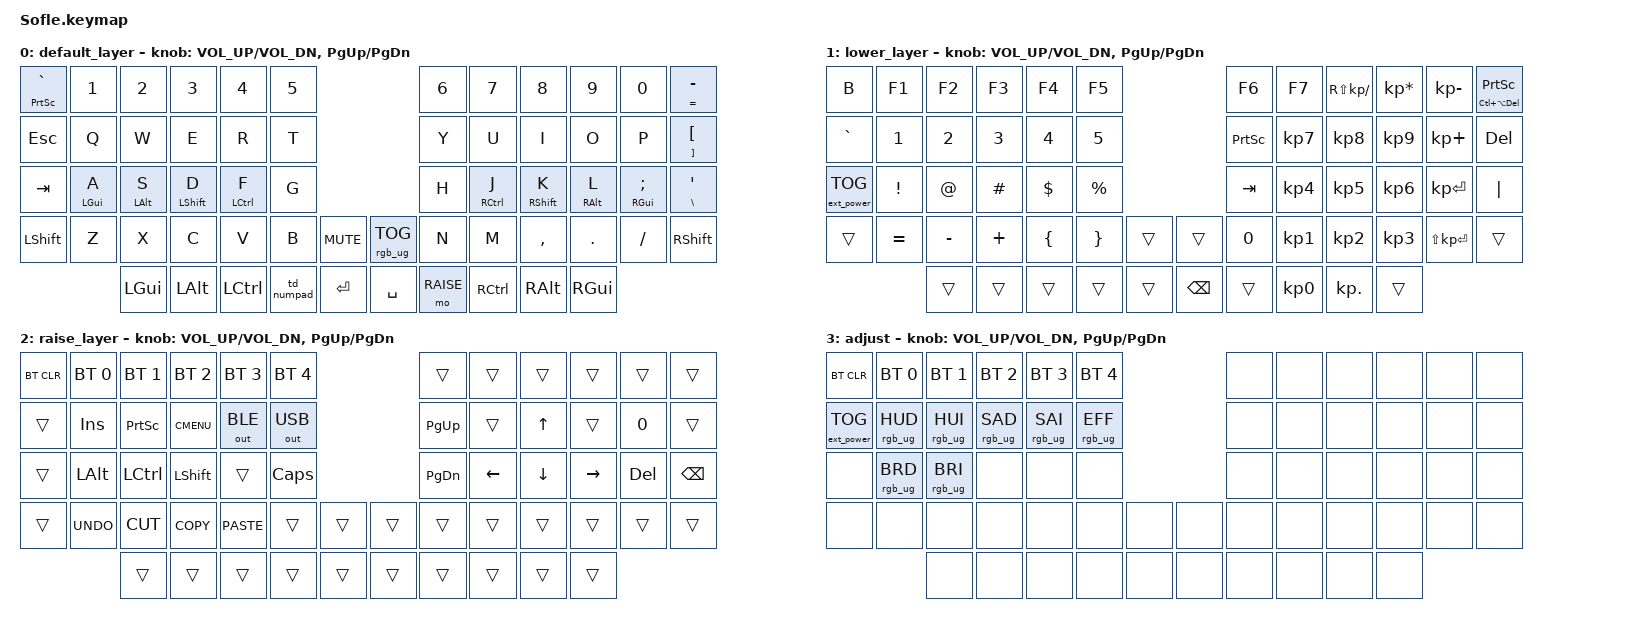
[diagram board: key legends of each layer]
/*
 * Copyright (c) 2020 The ZMK Contributors
 *
 * SPDX-License-Identifier: MIT
 *
 */

#include <behaviors.dtsi>
#include <dt-bindings/zmk/bt.h>
#include <dt-bindings/zmk/ext_power.h>
#include <dt-bindings/zmk/keys.h>
#include <dt-bindings/zmk/outputs.h>
#include <dt-bindings/zmk/rgb.h>

#define BASE 0
#define LOWER 1
#define RAISE 2
#define ADJUST 3

/ {
    behaviors {
        td_numpad: tap_dance_numpad {
            compatible = "zmk,behavior-tap-dance";
            label = "TD_NUMPAD";
            #binding-cells = <0>;
            tapping-term-ms = <200>;

            // 1 tap = momentané, 2 taps = permanent (toggle)

            bindings = <&mo LOWER>, <&tog LOWER>;
        };

        homerow_left: homerow_left {
            compatible = "zmk,behavior-hold-tap";
            label = "HOMEROW_LEFT";
            bindings = <&kp>, <&kp>;

            #binding-cells = <2>;
            tapping-term-ms = <280>;
            flavor = "balanced";
            quick-tap-ms = <175>;
            hold-trigger-key-positions = <6 18 30 44 43 56 55 57 45 31 19 7 8 20 32 46 58 59 47 33 21 9 10 22 34 48 49 35 23 11>;
            require-prior-idle-ms = <150>;
        };

        homerow_right: homerow_right {
            compatible = "zmk,behavior-hold-tap";
            label = "HOMEROW_RIGHT";
            bindings = <&kp>, <&kp>;

            #binding-cells = <2>;
            tapping-term-ms = <280>;
            quick-tap-ms = <175>;
            require-prior-idle-ms = <150>;
            flavor = "balanced";
            hold-trigger-key-positions = <0 1 2 3 4 0 1 5 12 13 14 15 16 17 24 25 26 27 28 29 36 37 38 39 40 41 42 50 51 52 53 54>;
        };
    };

    conditional_layers {
        compatible = "zmk,conditional-layers";

        adjust_layer {
            if-layers = <LOWER RAISE>;
            then-layer = <ADJUST>;
        };
    };

    keymap {
        compatible = "zmk,keymap";

        default_layer {
            bindings = <
&mt PRINTSCREEN GRAVE  &kp N1                    &kp N2                    &kp N3                      &kp N4                 &kp N5                                     &kp N6     &kp N7                  &kp N8                        &kp N9                      &kp N0                         &mt EQUAL MINUS
&kp ESC                &kp Q                     &kp W                     &kp E                       &kp R                  &kp T                                      &kp Y      &kp U                   &kp I                         &kp O                       &kp P                          &mt RIGHT_BRACKET LEFT_BRACKET
&kp TAB                &homerow_left LEFT_GUI A  &homerow_left LEFT_ALT S  &homerow_left LEFT_SHIFT D  &homerow_left LCTRL F  &kp G                                      &kp H      &homerow_right RCTRL J  &homerow_right RIGHT_SHIFT K  &homerow_right RIGHT_ALT L  &homerow_right RIGHT_GUI SEMI  &mt BACKSLASH SQT
&kp LSHFT              &kp Z                     &kp X                     &kp C                       &kp V                  &kp B       &kp C_MUTE    &rgb_ug RGB_TOG  &kp N      &kp M                   &kp COMMA                     &kp DOT                     &kp FSLH                       &kp RSHFT
                                                 &kp LGUI                  &kp LALT                    &kp LCTRL              &td_numpad  &kp RET       &kp SPACE        &mo RAISE  &kp RCTRL               &kp RALT                      &kp RGUI
            >;

            sensor-bindings = <&inc_dec_kp C_VOL_UP C_VOL_DN &inc_dec_kp PG_UP PG_DN>;
        };

        lower_layer {
            bindings = <
&kp B              &kp F1     &kp F2     &kp F3    &kp F4    &kp F5                              &kp F6     &kp F7           &kp RS(KP_DIVIDE)  &kp KP_MULTIPLY  &kp KP_SUBTRACT   &mt LC(LA(DELETE)) PRINTSCREEN
&kp GRAVE          &kp N1     &kp N2     &kp N3    &kp N4    &kp N5                              &kp PSCRN  &kp KP_NUMBER_7  &kp KP_NUMBER_8    &kp KP_NUMBER_9  &kp KP_PLUS       &kp DELETE
&ext_power EP_TOG  &kp EXCL   &kp AT     &kp HASH  &kp DLLR  &kp PRCNT                           &kp TAB    &kp KP_NUMBER_4  &kp KP_NUMBER_5    &kp KP_NUMBER_6  &kp KP_ENTER      &kp PIPE
&trans             &kp EQUAL  &kp MINUS  &kp PLUS  &kp LBRC  &kp RBRC   &trans    &trans         &kp N0     &kp KP_NUMBER_1  &kp KP_NUMBER_2    &kp KP_NUMBER_3  &kp LS(KP_ENTER)  &trans
                              &trans     &trans    &trans    &trans     &trans    &kp BACKSPACE  &trans     &kp KP_NUMBER_0  &kp KP_DOT         &trans
            >;

            sensor-bindings = <&inc_dec_kp C_VOL_UP C_VOL_DN &inc_dec_kp PG_UP PG_DN>;
        };

        raise_layer {
            bindings = <
&bt BT_CLR  &bt BT_SEL 0  &bt BT_SEL 1  &bt BT_SEL 2  &bt BT_SEL 3  &bt BT_SEL 4                    &trans     &trans    &trans    &trans     &trans   &trans
&trans      &kp INS       &kp PSCRN     &kp K_CMENU   &out OUT_BLE  &out OUT_USB                    &kp PG_UP  &trans    &kp UP    &trans     &kp N0   &trans
&trans      &kp LALT      &kp LCTRL     &kp LSHFT     &trans        &kp CLCK                        &kp PG_DN  &kp LEFT  &kp DOWN  &kp RIGHT  &kp DEL  &kp BSPC
&trans      &kp K_UNDO    &kp K_CUT     &kp K_COPY    &kp K_PASTE   &trans        &trans    &trans  &trans     &trans    &trans    &trans     &trans   &trans
                          &trans        &trans        &trans        &trans        &trans    &trans  &trans     &trans    &trans    &trans
            >;

            sensor-bindings = <&inc_dec_kp C_VOL_UP C_VOL_DN &inc_dec_kp PG_UP PG_DN>;
        };

        adjust_layer {
            display-name = "adjust";
            bindings = <
&bt BT_CLR         &bt BT_SEL 0     &bt BT_SEL 1     &bt BT_SEL 2     &bt BT_SEL 3     &bt BT_SEL 4                     &none  &none  &none  &none  &none  &none
&ext_power EP_TOG  &rgb_ug RGB_HUD  &rgb_ug RGB_HUI  &rgb_ug RGB_SAD  &rgb_ug RGB_SAI  &rgb_ug RGB_EFF                  &none  &none  &none  &none  &none  &none
&none              &rgb_ug RGB_BRD  &rgb_ug RGB_BRI  &none            &none            &none                            &none  &none  &none  &none  &none  &none
&none              &none            &none            &none            &none            &none            &none    &none  &none  &none  &none  &none  &none  &none
                                    &none            &none            &none            &none            &none    &none  &none  &none  &none  &none
            >;

            sensor-bindings = <&inc_dec_kp C_VOL_UP C_VOL_DN &inc_dec_kp PG_UP PG_DN>;
        };

        // Cette couche n'est pas utilisée par le firmware mais sera dessinée

        lower_backup {
            status = "reserved"; // Indique à ZMK de l'ignorer mais garde le code
            bindings = <
&trans             &kp F1     &kp F2     &kp F3    &kp F4    &kp F5                       &kp F6     &kp F7    &kp F8     &kp F9     &kp F10   &kp F11
&kp GRAVE          &kp N1     &kp N2     &kp N3    &kp N4    &kp N5                       &kp N6     &kp N7    &kp N8     &kp N9     &kp N0    &kp F12
&ext_power EP_TOG  &kp EXCL   &kp AT     &kp HASH  &kp DLLR  &kp PRCNT                    &kp CARET  &kp AMPS  &kp ASTRK  &kp LPAR   &kp RPAR  &kp PIPE
&trans             &kp EQUAL  &kp MINUS  &kp PLUS  &kp LBRC  &kp RBRC   &trans    &trans  &kp LBKT   &kp RBKT  &kp SEMI   &kp COLON  &kp BSLH  &trans
                              &trans     &trans    &trans    &trans     &trans    &trans  &trans     &trans    &trans     &trans
            >;
        };
    };
};
